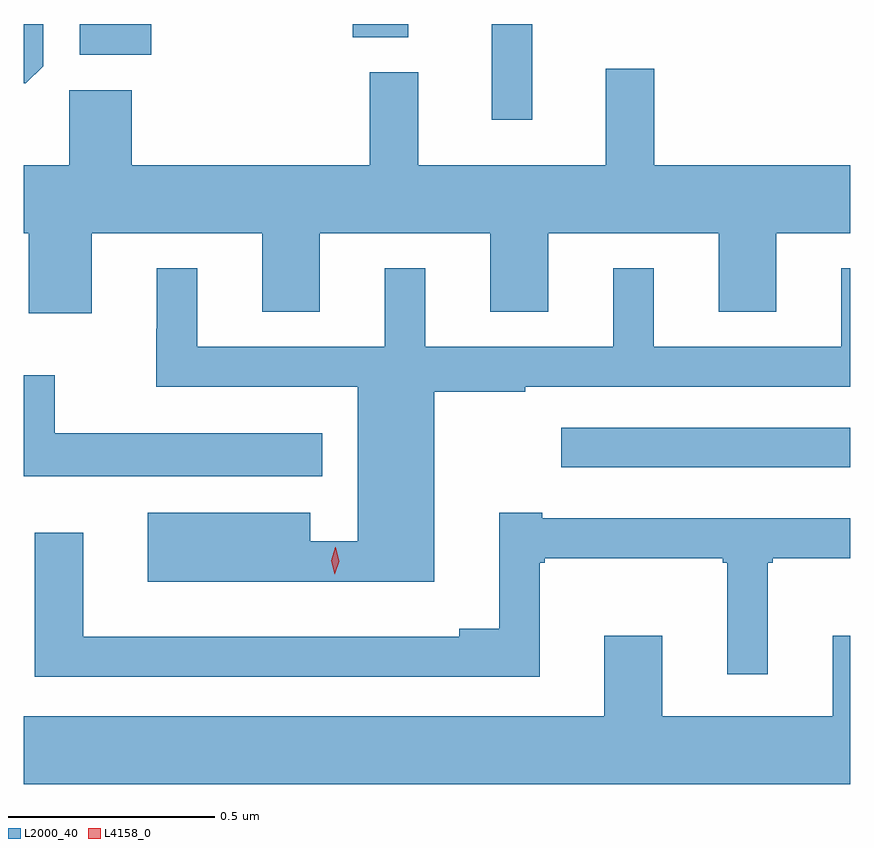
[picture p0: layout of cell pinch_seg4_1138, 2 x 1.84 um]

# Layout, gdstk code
import gdstk
lib = gdstk.Library(unit=1e-6, precision=1e-09)
def R(c, l, rs):  # rectangles x0, y0, x1, y1
    for r in rs: c.add(gdstk.rectangle(r[:2], r[2:], *l))
def P(c, l, *ps):  # polygons
    for p in ps: c.add(gdstk.Polygon(p, *l))
L2000_40 = (2000, 40)
L4158_0 = (4158, 0)

pinch_seg4_1138 = lib.new_cell('pinch_seg4_1138')
R(pinch_seg4_1138, L2000_40, [(415.821,802.914,416.52,803.01), (415.653,803.754,415.75,803.986), (414.656,803.912,414.829,803.986), (415.316,803.954,415.45,803.986)])
P(pinch_seg4_1138, L2000_40, [(414.568,803.884),(414.568,803.986),(414.52,803.986),(414.52,803.843),(414.526,803.843)],
  [(414.685,803.48),(415.097,803.48),(415.097,803.29),(415.237,803.29),(415.237,803.48),(415.649,803.48),(415.649,803.29),(415.789,803.29),(415.789,803.48),(416.201,803.48),(416.201,803.29),(416.341,803.29),(416.341,803.48),(416.52,803.48),(416.52,803.644),(416.045,803.644),(416.045,803.878),(415.928,803.878),(415.928,803.644),(415.475,803.644),(415.475,803.869),(415.357,803.869),(415.357,803.644),(414.782,803.644),(414.782,803.826),(414.631,803.826),(414.631,803.644),(414.52,803.644),(414.52,803.48),(414.533,803.48),(414.533,803.286),(414.685,803.286)],
  [(415.513,803.097),(415.733,803.097),(415.733,803.109),(416.52,803.109),(416.52,803.395),(416.498,803.395),(416.498,803.205),(416.044,803.205),(416.044,803.395),(415.946,803.395),(415.946,803.205),(415.492,803.205),(415.492,803.395),(415.394,803.395),(415.394,803.205),(414.94,803.205),(414.94,803.395),(414.842,803.395),(414.842,803.249),(414.841,803.249),(414.841,803.109),(415.328,803.109),(415.328,802.735),(415.213,802.735),(415.213,802.804),(414.821,802.804),(414.821,802.637),(415.513,802.637)],
  [(415.243,802.996),(414.595,802.996),(414.595,803.137),(414.52,803.137),(414.52,802.892),(415.243,802.892)],
  [(415.768,802.683),(415.78,802.683),(415.78,802.694),(416.211,802.694),(416.211,802.683),(416.222,802.683),(416.222,802.413),(416.32,802.413),(416.32,802.683),(416.332,802.683),(416.332,802.694),(416.52,802.694),(416.52,802.791),(415.774,802.791),(415.774,802.804),(415.67,802.804),(415.67,802.523),(415.574,802.523),(415.574,802.504),(414.664,802.504),(414.664,802.756),(414.547,802.756),(414.547,802.407),(415.768,802.407)],
  [(416.52,802.507),(416.477,802.507),(416.477,802.312),(416.065,802.312),(416.065,802.507),(415.925,802.507),(415.925,802.312),(414.52,802.312),(414.52,802.148),(416.52,802.148)])
P(pinch_seg4_1138, L4158_0, [(415.273,802.655),(415.273,802.655),(415.264,802.688),(415.274,802.72),(415.275,802.72),(415.275,802.72),(415.284,802.687),(415.273,802.655)])

lib.write_gds('pinch_seg4_1138.gds')
